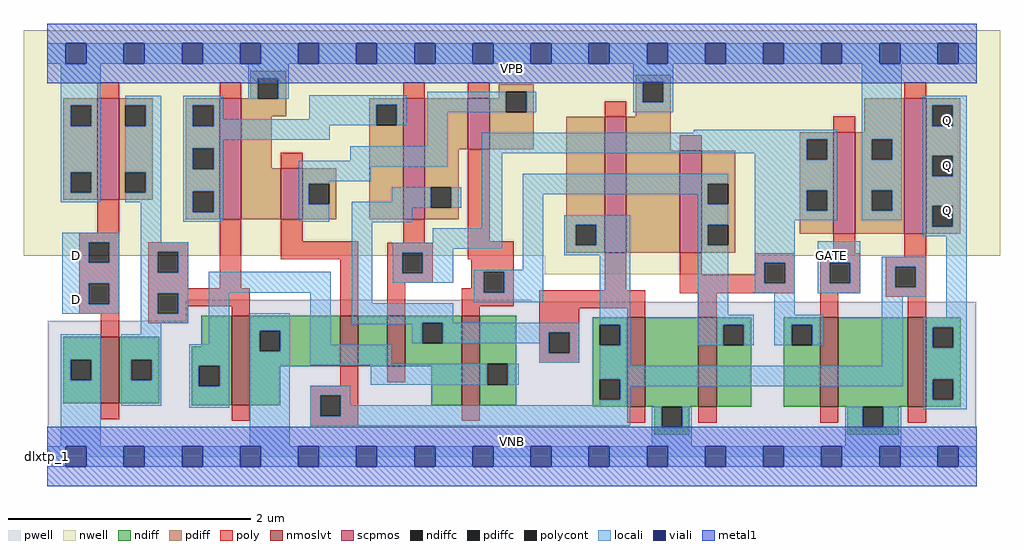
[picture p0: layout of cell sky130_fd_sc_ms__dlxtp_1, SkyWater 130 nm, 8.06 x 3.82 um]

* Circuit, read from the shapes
.subckt sky130_fd_sc_ms__dlxtp_1 D GATE VGND VNB VPB VPWR Q
XM1 n1 D VGND VNB sky130_fd_pr__nfet_01v8_lvt w=0.55 l=0.15
XM2 VGND n1 n2 VNB sky130_fd_pr__nfet_01v8_lvt w=0.74 l=0.15
XM3 n3 n4 VGND VNB sky130_fd_pr__nfet_01v8_lvt w=0.42 l=0.15
XM4 n5 n6 n3 VNB sky130_fd_pr__nfet_01v8_lvt w=0.42 l=0.15
XM5 n2 n7 n5 VNB sky130_fd_pr__nfet_01v8_lvt w=0.74 l=0.15
XM6 VGND n5 n4 VNB sky130_fd_pr__nfet_01v8_lvt w=0.74 l=0.15
XM7 n7 n6 VGND VNB sky130_fd_pr__nfet_01v8_lvt w=0.74 l=0.15
XM8 VGND GATE n6 VNB sky130_fd_pr__nfet_01v8_lvt w=0.74 l=0.15
XM9 Q n4 VGND VNB sky130_fd_pr__nfet_01v8_lvt w=0.74 l=0.15
XM10 n1 D VPWR VPB sky130_fd_pr__pfet_01v8 w=0.84 l=0.18
XM11 VPWR n1 n8 VPB sky130_fd_pr__pfet_01v8 w=1 l=0.18
XM12 n9 n4 VPWR VPB sky130_fd_pr__pfet_01v8 w=0.42 l=0.18
XM13 n5 n6 n8 VPB sky130_fd_pr__pfet_01v8 w=1 l=0.18
XM14 n9 n7 n5 VPB sky130_fd_pr__pfet_01v8 w=0.42 l=0.18
XM15 VPWR n5 n4 VPB sky130_fd_pr__pfet_01v8 w=1.12 l=0.18
XM16 n7 n6 VPWR VPB sky130_fd_pr__pfet_01v8 w=0.84 l=0.18
XM17 VPWR GATE n6 VPB sky130_fd_pr__pfet_01v8 w=0.84 l=0.18
XM18 Q n4 VPWR VPB sky130_fd_pr__pfet_01v8 w=1.12 l=0.18
.ends

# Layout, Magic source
magic
tech sky130A
magscale 1 2
<< nwell >>
rect -38 332 1574 704
rect 822 301 1173 332
<< pwell >>
rect 229 256 801 259
rect 229 224 1535 256
rect 1 49 1535 224
rect 0 0 1536 49
<< scpmos >>
rect 83 424 119 592
rect 285 392 321 592
rect 386 392 422 476
rect 588 392 624 592
rect 695 508 731 592
rect 921 337 957 561
rect 1045 337 1081 505
rect 1299 368 1335 536
rect 1416 368 1452 592
<< nmoslvt >>
rect 89 88 119 198
rect 305 85 335 233
rect 484 149 514 233
rect 562 149 592 233
rect 685 85 715 233
rect 958 82 988 230
rect 1076 82 1106 230
rect 1277 82 1307 230
rect 1422 82 1452 230
<< ndiff >>
rect 27 160 89 198
rect 27 126 39 160
rect 73 126 89 160
rect 27 88 89 126
rect 119 160 185 198
rect 255 182 305 233
rect 119 126 139 160
rect 173 126 185 160
rect 119 88 185 126
rect 239 150 305 182
rect 239 116 251 150
rect 285 116 305 150
rect 239 85 305 116
rect 335 208 484 233
rect 335 174 351 208
rect 385 174 484 208
rect 335 149 484 174
rect 514 149 562 233
rect 592 221 685 233
rect 592 187 620 221
rect 654 187 685 221
rect 592 149 685 187
rect 335 85 385 149
rect 635 85 685 149
rect 715 153 775 233
rect 901 218 958 230
rect 901 184 913 218
rect 947 184 958 218
rect 715 119 727 153
rect 761 119 775 153
rect 715 85 775 119
rect 901 128 958 184
rect 901 94 913 128
rect 947 94 958 128
rect 901 82 958 94
rect 988 82 1076 230
rect 1106 218 1163 230
rect 1106 184 1117 218
rect 1151 184 1163 218
rect 1106 82 1163 184
rect 1217 218 1277 230
rect 1217 184 1230 218
rect 1264 184 1277 218
rect 1217 82 1277 184
rect 1307 82 1422 230
rect 1452 214 1509 230
rect 1452 180 1463 214
rect 1497 180 1509 214
rect 1452 128 1509 180
rect 1452 94 1463 128
rect 1497 94 1509 128
rect 1452 82 1509 94
rect 1003 48 1015 82
rect 1049 48 1061 82
rect 1003 36 1061 48
rect 1322 48 1347 82
rect 1381 48 1407 82
rect 1322 36 1407 48
<< pdiff >>
rect 336 625 395 637
rect 336 592 348 625
rect 27 580 83 592
rect 27 546 39 580
rect 73 546 83 580
rect 27 470 83 546
rect 27 436 39 470
rect 73 436 83 470
rect 27 424 83 436
rect 119 580 175 592
rect 119 546 129 580
rect 163 546 175 580
rect 119 470 175 546
rect 119 436 129 470
rect 163 436 175 470
rect 119 424 175 436
rect 229 580 285 592
rect 229 546 241 580
rect 275 546 285 580
rect 229 509 285 546
rect 229 475 241 509
rect 275 475 285 509
rect 229 438 285 475
rect 229 404 241 438
rect 275 404 285 438
rect 229 392 285 404
rect 321 591 348 592
rect 382 591 395 625
rect 972 619 1030 631
rect 746 603 804 615
rect 746 592 758 603
rect 321 562 395 591
rect 532 581 588 592
rect 321 476 371 562
rect 532 547 544 581
rect 578 547 588 581
rect 321 392 386 476
rect 422 451 478 476
rect 422 417 432 451
rect 466 417 478 451
rect 422 392 478 417
rect 532 392 588 547
rect 624 508 695 592
rect 731 569 758 592
rect 792 569 804 603
rect 731 508 804 569
rect 972 585 984 619
rect 1018 585 1030 619
rect 972 561 1030 585
rect 624 445 680 508
rect 624 411 634 445
rect 668 411 680 445
rect 624 392 680 411
rect 858 383 921 561
rect 858 349 873 383
rect 907 349 921 383
rect 858 337 921 349
rect 957 505 1030 561
rect 1350 536 1416 592
rect 1243 524 1299 536
rect 957 337 1045 505
rect 1081 451 1137 505
rect 1081 417 1091 451
rect 1125 417 1137 451
rect 1081 383 1137 417
rect 1081 349 1091 383
rect 1125 349 1137 383
rect 1243 490 1255 524
rect 1289 490 1299 524
rect 1243 440 1299 490
rect 1243 406 1255 440
rect 1289 406 1299 440
rect 1243 368 1299 406
rect 1335 524 1416 536
rect 1335 490 1362 524
rect 1396 490 1416 524
rect 1335 440 1416 490
rect 1335 406 1362 440
rect 1396 406 1416 440
rect 1335 368 1416 406
rect 1452 580 1508 592
rect 1452 546 1462 580
rect 1496 546 1508 580
rect 1452 497 1508 546
rect 1452 463 1462 497
rect 1496 463 1508 497
rect 1452 414 1508 463
rect 1452 380 1462 414
rect 1496 380 1508 414
rect 1452 368 1508 380
rect 1081 337 1137 349
<< ndiffc >>
rect 39 126 73 160
rect 139 126 173 160
rect 251 116 285 150
rect 351 174 385 208
rect 620 187 654 221
rect 913 184 947 218
rect 727 119 761 153
rect 913 94 947 128
rect 1117 184 1151 218
rect 1230 184 1264 218
rect 1463 180 1497 214
rect 1463 94 1497 128
rect 1015 48 1049 82
rect 1347 48 1381 82
<< pdiffc >>
rect 39 546 73 580
rect 39 436 73 470
rect 129 546 163 580
rect 129 436 163 470
rect 241 546 275 580
rect 241 475 275 509
rect 241 404 275 438
rect 348 591 382 625
rect 544 547 578 581
rect 432 417 466 451
rect 758 569 792 603
rect 984 585 1018 619
rect 634 411 668 445
rect 873 349 907 383
rect 1091 417 1125 451
rect 1091 349 1125 383
rect 1255 490 1289 524
rect 1255 406 1289 440
rect 1362 490 1396 524
rect 1362 406 1396 440
rect 1462 546 1496 580
rect 1462 463 1496 497
rect 1462 380 1496 414
<< poly >>
rect 83 592 119 618
rect 285 592 321 618
rect 83 370 119 424
rect 588 592 624 618
rect 695 592 731 618
rect 386 476 422 502
rect 921 561 957 587
rect 1416 592 1452 618
rect 53 354 119 370
rect 53 320 69 354
rect 103 320 119 354
rect 53 286 119 320
rect 53 252 69 286
rect 103 252 119 286
rect 53 236 119 252
rect 89 198 119 236
rect 167 338 233 354
rect 167 304 183 338
rect 217 304 233 338
rect 167 278 233 304
rect 285 278 321 392
rect 386 356 422 392
rect 386 326 514 356
rect 588 353 624 392
rect 695 356 731 508
rect 167 270 335 278
rect 167 236 183 270
rect 217 248 335 270
rect 217 236 233 248
rect 167 220 233 236
rect 305 233 335 248
rect 484 233 514 326
rect 562 337 637 353
rect 562 303 587 337
rect 621 303 637 337
rect 695 326 771 356
rect 1299 536 1335 562
rect 1045 505 1081 531
rect 562 287 637 303
rect 701 305 771 326
rect 562 233 592 287
rect 701 278 721 305
rect 685 271 721 278
rect 755 271 771 305
rect 921 275 957 337
rect 1045 300 1081 337
rect 1299 336 1335 368
rect 1169 320 1235 336
rect 1169 300 1185 320
rect 1045 286 1185 300
rect 1219 286 1235 320
rect 685 248 771 271
rect 685 233 715 248
rect 813 245 988 275
rect 1045 270 1235 286
rect 1277 320 1343 336
rect 1416 330 1452 368
rect 1277 286 1293 320
rect 1327 286 1343 320
rect 1277 270 1343 286
rect 1385 314 1452 330
rect 1385 280 1401 314
rect 1435 280 1452 314
rect 89 62 119 88
rect 484 117 514 149
rect 562 123 592 149
rect 435 101 514 117
rect 305 59 335 85
rect 435 67 451 101
rect 485 67 514 101
rect 813 205 879 245
rect 958 230 988 245
rect 1076 230 1106 270
rect 1277 230 1307 270
rect 1385 264 1452 280
rect 1422 230 1452 264
rect 813 171 829 205
rect 863 171 879 205
rect 813 155 879 171
rect 435 51 514 67
rect 685 59 715 85
rect 958 56 988 82
rect 1076 56 1106 82
rect 1277 56 1307 82
rect 1422 56 1452 82
<< polycont >>
rect 69 320 103 354
rect 69 252 103 286
rect 183 304 217 338
rect 183 236 217 270
rect 587 303 621 337
rect 721 271 755 305
rect 1185 286 1219 320
rect 1293 286 1327 320
rect 1401 280 1435 314
rect 451 67 485 101
rect 829 171 863 205
<< locali >>
rect 0 649 31 683
rect 65 649 127 683
rect 161 649 223 683
rect 257 649 319 683
rect 353 649 415 683
rect 449 649 511 683
rect 545 649 607 683
rect 641 649 703 683
rect 737 649 799 683
rect 833 649 895 683
rect 929 649 991 683
rect 1025 649 1087 683
rect 1121 649 1183 683
rect 1217 649 1279 683
rect 1313 649 1375 683
rect 1409 649 1471 683
rect 1505 649 1536 683
rect 23 580 89 649
rect 332 625 399 649
rect 23 546 39 580
rect 73 546 89 580
rect 23 470 89 546
rect 23 436 39 470
rect 73 436 89 470
rect 23 420 89 436
rect 129 580 189 596
rect 163 546 189 580
rect 129 470 189 546
rect 163 436 189 470
rect 129 420 189 436
rect 25 354 119 370
rect 25 320 69 354
rect 103 320 119 354
rect 25 286 119 320
rect 25 252 69 286
rect 103 252 119 286
rect 25 236 119 252
rect 155 354 189 420
rect 225 580 291 596
rect 332 591 348 625
rect 382 591 399 625
rect 968 619 1034 649
rect 225 546 241 580
rect 275 557 291 580
rect 433 581 594 597
rect 433 557 544 581
rect 275 547 544 557
rect 578 547 594 581
rect 628 569 758 603
rect 792 569 808 603
rect 968 585 984 619
rect 1018 585 1034 619
rect 968 569 1034 585
rect 275 546 467 547
rect 225 523 467 546
rect 225 509 291 523
rect 628 513 662 569
rect 1068 535 1305 540
rect 225 475 241 509
rect 275 475 291 509
rect 501 489 662 513
rect 225 438 291 475
rect 225 404 241 438
rect 275 404 291 438
rect 225 388 291 404
rect 416 479 662 489
rect 718 524 1305 535
rect 718 501 1255 524
rect 416 455 535 479
rect 416 451 466 455
rect 416 417 432 451
rect 569 421 634 445
rect 416 388 466 417
rect 503 411 634 421
rect 668 411 684 445
rect 503 387 603 411
rect 155 338 233 354
rect 155 304 183 338
rect 217 304 233 338
rect 155 270 233 304
rect 155 236 183 270
rect 217 236 233 270
rect 155 220 233 236
rect 267 271 469 305
rect 155 202 189 220
rect 23 160 89 202
rect 23 126 39 160
rect 73 126 89 160
rect 23 17 89 126
rect 123 160 189 202
rect 267 186 301 271
rect 123 126 139 160
rect 173 126 189 160
rect 123 84 189 126
rect 235 150 301 186
rect 235 116 251 150
rect 285 116 301 150
rect 235 81 301 116
rect 335 208 401 237
rect 335 174 351 208
rect 385 174 401 208
rect 335 17 401 174
rect 435 185 469 271
rect 503 253 537 387
rect 718 377 752 501
rect 1169 490 1255 501
rect 1289 490 1305 524
rect 637 353 752 377
rect 571 343 752 353
rect 786 451 1125 467
rect 786 433 1091 451
rect 571 337 671 343
rect 571 303 587 337
rect 621 303 671 337
rect 786 309 820 433
rect 1075 417 1091 433
rect 854 383 963 399
rect 854 349 873 383
rect 907 349 963 383
rect 854 333 963 349
rect 571 287 671 303
rect 705 305 820 309
rect 705 271 721 305
rect 755 271 820 305
rect 705 255 820 271
rect 503 221 671 253
rect 503 219 620 221
rect 603 187 620 219
rect 654 205 879 221
rect 654 187 829 205
rect 435 153 569 185
rect 813 171 829 187
rect 863 171 879 205
rect 813 155 879 171
rect 913 218 963 333
rect 947 184 963 218
rect 1075 383 1125 417
rect 1075 349 1091 383
rect 1075 234 1125 349
rect 1169 440 1305 490
rect 1169 406 1255 440
rect 1289 406 1305 440
rect 1169 390 1305 406
rect 1346 524 1412 649
rect 1346 490 1362 524
rect 1396 490 1412 524
rect 1346 440 1412 490
rect 1346 406 1362 440
rect 1396 406 1412 440
rect 1346 390 1412 406
rect 1446 580 1519 596
rect 1446 546 1462 580
rect 1496 546 1519 580
rect 1446 497 1519 546
rect 1446 463 1462 497
rect 1496 463 1519 497
rect 1446 414 1519 463
rect 1169 320 1235 390
rect 1446 380 1462 414
rect 1496 380 1519 414
rect 1446 364 1519 380
rect 1169 286 1185 320
rect 1219 286 1235 320
rect 1169 270 1235 286
rect 1273 320 1343 356
rect 1273 286 1293 320
rect 1327 286 1343 320
rect 1273 270 1343 286
rect 1379 314 1451 330
rect 1379 280 1401 314
rect 1435 280 1451 314
rect 1201 234 1235 270
rect 1379 264 1451 280
rect 1075 218 1167 234
rect 1075 184 1117 218
rect 1151 184 1167 218
rect 1201 218 1282 234
rect 1201 184 1230 218
rect 1264 184 1282 218
rect 435 151 727 153
rect 535 119 727 151
rect 761 119 779 153
rect 913 150 963 184
rect 1379 150 1413 264
rect 1485 230 1519 364
rect 913 128 1413 150
rect 435 101 501 117
rect 435 67 451 101
rect 485 85 501 101
rect 947 116 1413 128
rect 1447 214 1519 230
rect 1447 180 1463 214
rect 1497 180 1519 214
rect 1447 128 1519 180
rect 947 94 963 116
rect 913 85 963 94
rect 485 67 963 85
rect 1447 94 1463 128
rect 1497 94 1519 128
rect 435 51 963 67
rect 999 48 1015 82
rect 1049 48 1065 82
rect 999 17 1065 48
rect 1318 48 1347 82
rect 1381 48 1411 82
rect 1447 78 1519 94
rect 1318 17 1411 48
rect 0 -17 31 17
rect 65 -17 127 17
rect 161 -17 223 17
rect 257 -17 319 17
rect 353 -17 415 17
rect 449 -17 511 17
rect 545 -17 607 17
rect 641 -17 703 17
rect 737 -17 799 17
rect 833 -17 895 17
rect 929 -17 991 17
rect 1025 -17 1087 17
rect 1121 -17 1183 17
rect 1217 -17 1279 17
rect 1313 -17 1375 17
rect 1409 -17 1471 17
rect 1505 -17 1536 17
<< viali >>
rect 31 649 65 683
rect 127 649 161 683
rect 223 649 257 683
rect 319 649 353 683
rect 415 649 449 683
rect 511 649 545 683
rect 607 649 641 683
rect 703 649 737 683
rect 799 649 833 683
rect 895 649 929 683
rect 991 649 1025 683
rect 1087 649 1121 683
rect 1183 649 1217 683
rect 1279 649 1313 683
rect 1375 649 1409 683
rect 1471 649 1505 683
rect 31 -17 65 17
rect 127 -17 161 17
rect 223 -17 257 17
rect 319 -17 353 17
rect 415 -17 449 17
rect 511 -17 545 17
rect 607 -17 641 17
rect 703 -17 737 17
rect 799 -17 833 17
rect 895 -17 929 17
rect 991 -17 1025 17
rect 1087 -17 1121 17
rect 1183 -17 1217 17
rect 1279 -17 1313 17
rect 1375 -17 1409 17
rect 1471 -17 1505 17
<< metal1 >>
rect 0 683 1536 715
rect 0 649 31 683
rect 65 649 127 683
rect 161 649 223 683
rect 257 649 319 683
rect 353 649 415 683
rect 449 649 511 683
rect 545 649 607 683
rect 641 649 703 683
rect 737 649 799 683
rect 833 649 895 683
rect 929 649 991 683
rect 1025 649 1087 683
rect 1121 649 1183 683
rect 1217 649 1279 683
rect 1313 649 1375 683
rect 1409 649 1471 683
rect 1505 649 1536 683
rect 0 617 1536 649
rect 0 17 1536 49
rect 0 -17 31 17
rect 65 -17 127 17
rect 161 -17 223 17
rect 257 -17 319 17
rect 353 -17 415 17
rect 449 -17 511 17
rect 545 -17 607 17
rect 641 -17 703 17
rect 737 -17 799 17
rect 833 -17 895 17
rect 929 -17 991 17
rect 1025 -17 1087 17
rect 1121 -17 1183 17
rect 1217 -17 1279 17
rect 1313 -17 1375 17
rect 1409 -17 1471 17
rect 1505 -17 1536 17
rect 0 -49 1536 -17
<< labels >>
flabel pwell s 0 0 1536 49 0 FreeSans 200 0 0 0 VNB
port 4 nsew ground bidirectional
flabel nwell s 0 617 1536 666 0 FreeSans 200 0 0 0 VPB
port 5 nsew power bidirectional
rlabel comment s 0 0 0 0 4 dlxtp_1
flabel metal1 s 0 617 1536 666 0 FreeSans 340 0 0 0 VPWR
port 6 nsew power bidirectional
flabel metal1 s 0 0 1536 49 0 FreeSans 340 0 0 0 VGND
port 3 nsew ground bidirectional
flabel locali s 31 242 65 276 0 FreeSans 340 0 0 0 D
port 1 nsew signal input
flabel locali s 31 316 65 350 0 FreeSans 340 0 0 0 D
port 1 nsew signal input
flabel locali s 1471 390 1505 424 0 FreeSans 340 0 0 0 Q
port 7 nsew signal output
flabel locali s 1471 464 1505 498 0 FreeSans 340 0 0 0 Q
port 7 nsew signal output
flabel locali s 1471 538 1505 572 0 FreeSans 340 0 0 0 Q
port 7 nsew signal output
flabel locali s 1279 316 1313 350 0 FreeSans 340 0 0 0 GATE
port 2 nsew clock input
<< properties >>
string LEFsite unit
string LEFclass CORE
string FIXED_BBOX 0 0 1536 666
string GDS_FILE $PDKPATH/libs.ref/sky130_fd_sc_ms/gds/sky130_fd_sc_ms.gds
string LEFsymmetry X Y
string GDS_END 110524
string GDS_START 99096
<< end >>
